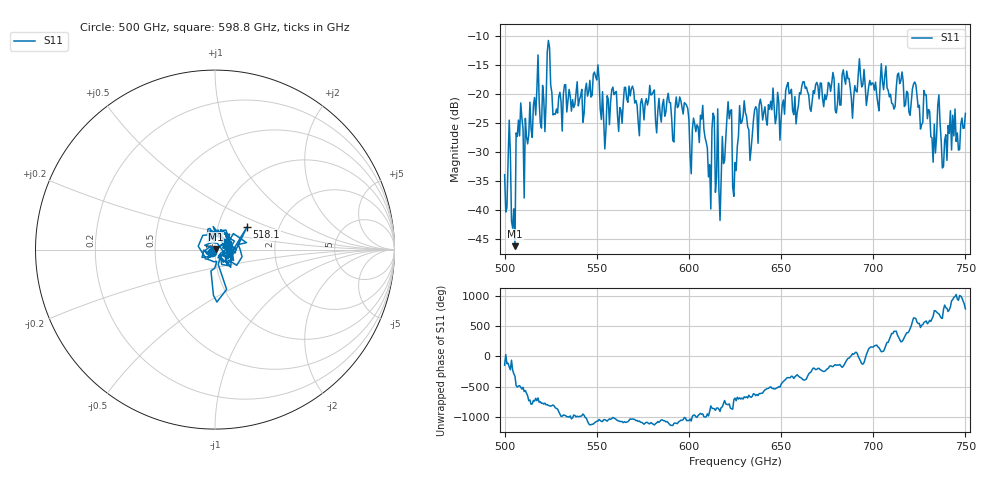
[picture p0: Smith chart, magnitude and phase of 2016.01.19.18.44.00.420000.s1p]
!Created with skrf (http://scikit-rf.org).
# GHz S RI R 50.0
!freq ReS11 ImS11
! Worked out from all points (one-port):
!   401 points, 500 GHz to 750 GHz, reference 50 ohm
!   lowest |S11| = -46.2 dB at 505.6 GHz (marker M1), VSWR 1.01, Z = 50.4 + j0.282 ohm
!   |S11| at or under -10 dB: start of sweep to end of sweep
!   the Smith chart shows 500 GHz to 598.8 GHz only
!   S11 on the Smith chart (normalised r, x): 500 GHz: 0.97, -0.02; 518.1 GHz: 1.38, +0.37; 598.8 GHz: 1.16, +0.07
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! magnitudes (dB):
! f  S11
! 500 GHz  -33.9
! 505.6 GHz  -46.2
! 507.5 GHz  -24.4
! 511.9 GHz  -27.3
! 518.1 GHz  -13.2
! 520.6 GHz  -18.5
! 524.4 GHz  -11.9
! 527.5 GHz  -23.5
! 531.2 GHz  -26.3
! 549.4 GHz  -17.0
! 553.8 GHz  -24.4
! 559.4 GHz  -20.0
! 562.5 GHz  -22.3
! 593.8 GHz  -22.3
! 598.8 GHz  -21.9
! 607.5 GHz  -21.9
! 610.6 GHz  -34.2
! 614.4 GHz  -36.9
! 615.6 GHz  -22.5
! 621.9 GHz  -24.2
! 625 GHz  -31.8
! 628.8 GHz  -24.8
! 633.1 GHz  -31.4
! 656.2 GHz  -22.8
! 687.5 GHz  -18.8
! 718.8 GHz  -19.8
! 738.8 GHz  -27.9
! 750 GHz  -23.3
